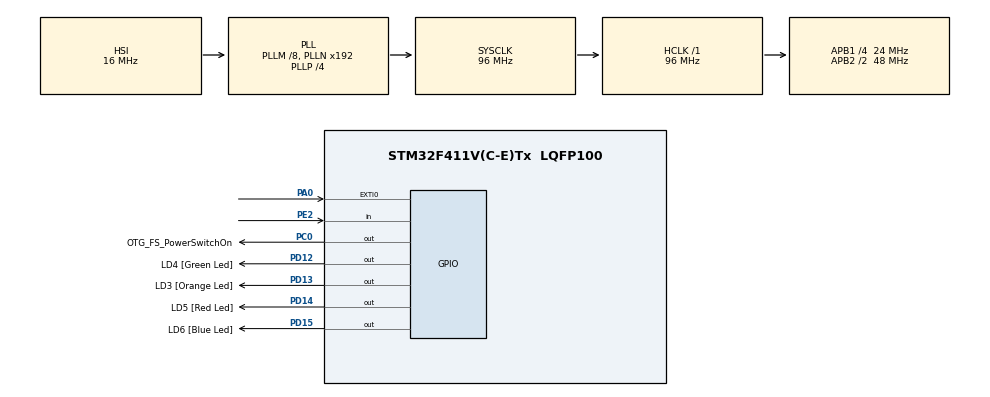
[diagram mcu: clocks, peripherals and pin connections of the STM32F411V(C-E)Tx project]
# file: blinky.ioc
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Mcu.Family=STM32F4
PD12.GPIO_Label=LD4 [Green Led]
RCC.CortexFreq_Value=96000000
PD12.GPIO_Speed=GPIO_SPEED_FREQ_LOW
PD15.GPIO_Label=LD6 [Blue Led]
PD15.GPIO_Speed=GPIO_SPEED_FREQ_LOW
PA14.GPIO_Label=SWCLK
PC0.GPIO_Label=OTG_FS_PowerSwitchOn
PC0.Signal=GPIO_Output
RCC.APB1CLKDivider=RCC_HCLK_DIV4
PC14-OSC32_IN.Signal=RCC_OSC32_IN
PC15-OSC32_OUT.GPIO_Label=PC15-OSC32_OUT
PA0-WKUP.GPIO_ModeDefaultEXTI=GPIO_MODE_IT_FALLING
RCC.SYSCLKSource=RCC_SYSCLKSOURCE_PLLCLK
ProjectManager.StackSize=0x400
PA0-WKUP.Signal=GPXTI0
PD13.Signal=GPIO_Output
PA13.Signal=SYS_JTMS-SWDIO
PD14.GPIO_Speed=GPIO_SPEED_FREQ_LOW
PH0\ -\ OSC_IN.Signal=RCC_OSC_IN
ProjectManager.TargetToolchain=STM32CubeIDE
RCC.HCLKFreq_Value=96000000
RCC.APB2TimFreq_Value=96000000
RCC.LSE_VALUE=32768
PC15-OSC32_OUT.Signal=RCC_OSC32_OUT
RCC.AHBFreq_Value=96000000
RCC.HSE_VALUE=8000000
PH1\ -\ OSC_OUT.Signal=RCC_OSC_OUT
board=STM32F411E-DISCO
PD13.GPIO_Speed=GPIO_SPEED_FREQ_LOW
RCC.VCOOutputFreq_Value=384000000
RCC.APB2Freq_Value=48000000
VP_TIM2_VS_ClockSourceINT.Mode=Internal
PA14.Mode=Serial_Wire
NVIC.TIM2_IRQn=true\:0\:0\:false\:false\:true\:true\:true
PD13.GPIO_PuPd=GPIO_NOPULL
PE2.Signal=GPIO_Input
PD14.GPIO_PuPd=GPIO_NOPULL
PD14.GPIO_Label=LD5 [Red Led]
TIM2.Period=480
PA13.Mode=Serial_Wire
Mcu.Name=STM32F411V(C-E)Tx
PA13.GPIO_Label=SWDIO
PH1\ -\ OSC_OUT.GPIO_Label=PH1-OSC_OUT
PD14.Signal=GPIO_Output
RCC.48MHZClocksFreq_Value=48000000
NVIC.EXTI0_IRQn=true\:0\:0\:false\:false\:true\:true\:true
RCC.SYSCLKFreq_VALUE=96000000
PD13.GPIO_Label=LD3 [Orange Led]
Mcu.Package=LQFP100
TIM2.Prescaler=1000
PD12.Signal=GPIO_Output
PD15.GPIO_PuPd=GPIO_NOPULL
PA14.Signal=SYS_JTCK-SWCLK
ProjectManager.HeapSize=0x200
RCC.HSI_VALUE=16000000
RCC.PLLP=RCC_PLLP_DIV4
RCC.PLLQ=8
NVIC.PriorityGroup=NVIC_PRIORITYGROUP_0
RCC.APB2CLKDivider=RCC_HCLK_DIV2
RCC.PLLM=8
RCC.APB1TimFreq_Value=48000000
TIM2.AutoReloadPreload=TIM_AUTORELOAD_PRELOAD_ENABLE
PA0-WKUP.GPIO_PuPd=GPIO_PULLDOWN
PH0\ -\ OSC_IN.GPIO_Label=PH0-OSC_IN
PC14-OSC32_IN.GPIO_Label=PC14-OSC32_IN
RCC.APB1Freq_Value=24000000
PD15.Signal=GPIO_Output
RCC.PLLI2SN=200
PC0.PinState=GPIO_PIN_SET
PD12.GPIO_PuPd=GPIO_NOPULL
RCC.PLLI2SM=5

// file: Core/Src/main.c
/* USER CODE BEGIN Header */
/**
  ******************************************************************************
  * @file           : main.c
  * @brief          : Main program body
  ******************************************************************************
  * @attention
  *
  * <h2><center>&copy; Copyright (c) 2022 STMicroelectronics.
  * All rights reserved.</center></h2>
  *
  * This software component is licensed by ST under BSD 3-Clause license,
  * the "License"; You may not use this file except in compliance with the
  * License. You may obtain a copy of the License at:
  *                        opensource.org/licenses/BSD-3-Clause
  *
  ******************************************************************************
  */
/* USER CODE END Header */
#include "main.h"

/* USER CODE BEGIN Includes */
#include "stm32f4xx_hal_gpio.h"
#include "stm32f4xx_hal_tim.h"
/* USER CODE END Includes */

/* USER CODE BEGIN PD */
#define LED_ON	0x1
#define LED_OFF	0x0
#define TRUE  	0x1
#define FALSE	0x0

/*Debouncer defines*/
#define CHECK_MSEC	5	/* Read pin status interval */
#define PRESS_MSEC	20	/* Stable time before registering press */
#define RELEASE_MSEC	100	/* Stable time before registering release */

/* USER CODE END PD */

TIM_HandleTypeDef htim2;

/* USER CODE BEGIN PV */
static uint8_t ledState_u8 = LED_OFF;
static uint8_t debouncedButtonPressed = FALSE;
/* USER CODE END PV */

void SystemClock_Config(void);
static void MX_GPIO_Init(void);
static void MX_TIM2_Init(void);
/* USER CODE BEGIN PFP */
static void Debounce_Button();
static uint8_t Debounce_Counter_Reset();
/* USER CODE END PFP */

int main(void)
{

  /* MCU Configuration--------------------------------------------------------*/

  /* Reset of all peripherals, Initializes the Flash interface and the Systick. */
  HAL_Init();

  /* Configure the system clock */
  SystemClock_Config();

  /* Initialize all configured peripherals */
  MX_GPIO_Init();
  MX_TIM2_Init();
  /* USER CODE BEGIN 2 */
  HAL_TIM_Base_Start_IT(&htim2);
  /* USER CODE END 2 */

  /* Infinite loop */
  while (1)
  {

    /* USER CODE BEGIN 3 */
    if (ledState_u8 == LED_ON)
    {
	HAL_GPIO_TogglePin(GPIOD, LD3_Pin);
	HAL_Delay(100);
    }
  }
  /* USER CODE END 3 */
}

void SystemClock_Config(void)
{
  RCC_OscInitTypeDef RCC_OscInitStruct = {0};
  RCC_ClkInitTypeDef RCC_ClkInitStruct = {0};

  /** Configure the main internal regulator output voltage
  */
  __HAL_RCC_PWR_CLK_ENABLE();
  __HAL_PWR_VOLTAGESCALING_CONFIG(PWR_REGULATOR_VOLTAGE_SCALE1);
  /** Initializes the RCC Oscillators according to the specified parameters
  * in the RCC_OscInitTypeDef structure.
  */
  RCC_OscInitStruct.OscillatorType = RCC_OSCILLATORTYPE_HSI;
  RCC_OscInitStruct.HSIState = RCC_HSI_ON;
  RCC_OscInitStruct.HSICalibrationValue = RCC_HSICALIBRATION_DEFAULT;
  RCC_OscInitStruct.PLL.PLLState = RCC_PLL_ON;
  RCC_OscInitStruct.PLL.PLLSource = RCC_PLLSOURCE_HSI;
  RCC_OscInitStruct.PLL.PLLM = 8;
  RCC_OscInitStruct.PLL.PLLN = 192;
  RCC_OscInitStruct.PLL.PLLP = RCC_PLLP_DIV4;
  RCC_OscInitStruct.PLL.PLLQ = 8;
  if (HAL_RCC_OscConfig(&RCC_OscInitStruct) != HAL_OK)
  {
    Error_Handler();
  }
  /** Initializes the CPU, AHB and APB buses clocks
  */
  RCC_ClkInitStruct.ClockType = RCC_CLOCKTYPE_HCLK|RCC_CLOCKTYPE_SYSCLK
                              |RCC_CLOCKTYPE_PCLK1|RCC_CLOCKTYPE_PCLK2;
  RCC_ClkInitStruct.SYSCLKSource = RCC_SYSCLKSOURCE_PLLCLK;
  RCC_ClkInitStruct.AHBCLKDivider = RCC_SYSCLK_DIV1;
  RCC_ClkInitStruct.APB1CLKDivider = RCC_HCLK_DIV4;
  RCC_ClkInitStruct.APB2CLKDivider = RCC_HCLK_DIV2;

  if (HAL_RCC_ClockConfig(&RCC_ClkInitStruct, FLASH_LATENCY_3) != HAL_OK)
  {
    Error_Handler();
  }
}

static void MX_TIM2_Init(void)
{

  TIM_ClockConfigTypeDef sClockSourceConfig = {0};
  TIM_MasterConfigTypeDef sMasterConfig = {0};

  htim2.Instance = TIM2;
  htim2.Init.Prescaler = 1000;
  htim2.Init.CounterMode = TIM_COUNTERMODE_UP;
  htim2.Init.Period = 480;
  htim2.Init.ClockDivision = TIM_CLOCKDIVISION_DIV1;
  htim2.Init.AutoReloadPreload = TIM_AUTORELOAD_PRELOAD_ENABLE;
  if (HAL_TIM_Base_Init(&htim2) != HAL_OK)
  {
    Error_Handler();
  }
  sClockSourceConfig.ClockSource = TIM_CLOCKSOURCE_INTERNAL;
  if (HAL_TIM_ConfigClockSource(&htim2, &sClockSourceConfig) != HAL_OK)
  {
    Error_Handler();
  }
  sMasterConfig.MasterOutputTrigger = TIM_TRGO_RESET;
  sMasterConfig.MasterSlaveMode = TIM_MASTERSLAVEMODE_DISABLE;
  if (HAL_TIMEx_MasterConfigSynchronization(&htim2, &sMasterConfig) != HAL_OK)
  {
    Error_Handler();
  }

}

static void MX_GPIO_Init(void)
{
  GPIO_InitTypeDef GPIO_InitStruct = {0};

  /* GPIO Ports Clock Enable */
  __HAL_RCC_GPIOE_CLK_ENABLE();
  __HAL_RCC_GPIOC_CLK_ENABLE();
  __HAL_RCC_GPIOH_CLK_ENABLE();
  __HAL_RCC_GPIOA_CLK_ENABLE();
  __HAL_RCC_GPIOD_CLK_ENABLE();

  /*Configure GPIO pin Output Level */
  HAL_GPIO_WritePin(OTG_FS_PowerSwitchOn_GPIO_Port, OTG_FS_PowerSwitchOn_Pin, GPIO_PIN_SET);

  /*Configure GPIO pin Output Level */
  HAL_GPIO_WritePin(GPIOD, LD4_Pin|LD3_Pin|LD5_Pin|LD6_Pin, GPIO_PIN_RESET);

  /*Configure GPIO pin : PE2 */
  GPIO_InitStruct.Pin = GPIO_PIN_2;
  GPIO_InitStruct.Mode = GPIO_MODE_INPUT;
  GPIO_InitStruct.Pull = GPIO_NOPULL;
  HAL_GPIO_Init(GPIOE, &GPIO_InitStruct);

  /*Configure GPIO pin : OTG_FS_PowerSwitchOn_Pin */
  GPIO_InitStruct.Pin = OTG_FS_PowerSwitchOn_Pin;
  GPIO_InitStruct.Mode = GPIO_MODE_OUTPUT_PP;
  GPIO_InitStruct.Pull = GPIO_NOPULL;
  GPIO_InitStruct.Speed = GPIO_SPEED_FREQ_LOW;
  HAL_GPIO_Init(OTG_FS_PowerSwitchOn_GPIO_Port, &GPIO_InitStruct);

  /*Configure GPIO pin : PA0 */
  GPIO_InitStruct.Pin = GPIO_PIN_0;
  GPIO_InitStruct.Mode = GPIO_MODE_IT_FALLING;
  GPIO_InitStruct.Pull = GPIO_PULLDOWN;
  HAL_GPIO_Init(GPIOA, &GPIO_InitStruct);

  /*Configure GPIO pins : LD4_Pin LD3_Pin LD5_Pin LD6_Pin */
  GPIO_InitStruct.Pin = LD4_Pin|LD3_Pin|LD5_Pin|LD6_Pin;
  GPIO_InitStruct.Mode = GPIO_MODE_OUTPUT_PP;
  GPIO_InitStruct.Pull = GPIO_NOPULL;
  GPIO_InitStruct.Speed = GPIO_SPEED_FREQ_LOW;
  HAL_GPIO_Init(GPIOD, &GPIO_InitStruct);

  /* EXTI interrupt init*/
  HAL_NVIC_SetPriority(EXTI0_IRQn, 0, 0);
  HAL_NVIC_EnableIRQ(EXTI0_IRQn);

}

/* USER CODE BEGIN 4 */
void HAL_GPIO_EXTI_Callback(uint16_t GPIO_Pin)
{

  if (ledState_u8 == LED_OFF && TRUE == debouncedButtonPressed)
  {
      ledState_u8 = LED_ON;
  } else if (TRUE == debouncedButtonPressed)
  {
      ledState_u8 = LED_OFF;
  }
}

void HAL_TIM_PeriodElapsedCallback(TIM_HandleTypeDef* htim)
{
//    HAL_GPIO_TogglePin(LD4_GPIO_Port, LD4_Pin);
    Debounce_Button();
}

/**
 * Jack Ganssles approach to debouncing implementation. Based on (http://www.ganssle.com/debouncing-pt2.htm)
 * function should be called periodically with CHECK_MSEC period.
 */
static void Debounce_Button()
{
  static uint8_t count = RELEASE_MSEC / CHECK_MSEC;
  static GPIO_PinState rawButtonState = GPIO_PIN_RESET;

  rawButtonState = HAL_GPIO_ReadPin(GPIOA, GPIO_PIN_0);

  if (debouncedButtonPressed == rawButtonState)
  {
      count = Debounce_Counter_Reset();
  } else
  {
      count--;
      if (count == 0)
      {
	  debouncedButtonPressed = rawButtonState;
	  count = Debounce_Counter_Reset();
      }
  }

}

static uint8_t Debounce_Counter_Reset()
{
  if (debouncedButtonPressed == TRUE)
  {
	 return RELEASE_MSEC / CHECK_MSEC;
  }
  else
  {
	 return PRESS_MSEC / CHECK_MSEC;
  }
}
/* USER CODE END 4 */

void Error_Handler(void)
{
  __disable_irq();
  while (1)
  {
  }
}

/************************ (C) COPYRIGHT STMicroelectronics *****END OF FILE****/
